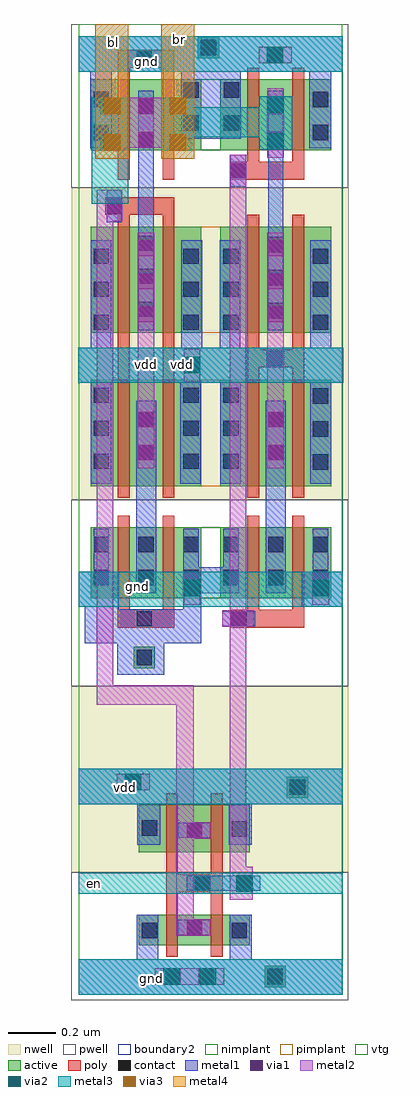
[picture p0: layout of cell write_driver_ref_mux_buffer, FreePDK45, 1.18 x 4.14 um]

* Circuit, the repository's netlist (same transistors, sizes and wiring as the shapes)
************************************************************************
* auCdl Netlist:
* 
* Library Name:  openram_sot
* Top Cell Name: write_driver_ref_mux_buffer
* View Name:     schematic
* Netlisted on:  Apr 22 02:57:17 2021
************************************************************************

*.EQUATION
*.SCALE METER
*.MEGA
.PARAM



************************************************************************
* Library Name: openram_sot
* Cell Name:    write_driver_ref_mux_buffer
* View Name:    schematic
************************************************************************

.SUBCKT write_driver_ref_mux_buffer bl br en gnd vdd
MM3 en_bar en vdd vdd PMOS_VTG W=200n L=50n m=2
MM6 br vdd vdd vdd PMOS_VTG W=900n L=50n m=2
MM7 bl en_bar vdd vdd PMOS_VTG W=900n L=50n m=2
MM2 en_bar en gnd gnd NMOS_VTG W=130.0n L=50n m=2
MM4 br en gnd gnd NMOS_VTG W=600n L=50n m=2
MM5 bl gnd gnd gnd NMOS_VTG W=600n L=50n m=2
.ENDS

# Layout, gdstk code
from math import pi, radians
import gdstk
lib = gdstk.Library(unit=1e-6, precision=5e-10)
def R(c, l, rs):  # rectangles x0, y0, x1, y1
    for r in rs: c.add(gdstk.rectangle(r[:2], r[2:], *l))
def A(c, l, x, y, w, h, nx, ny, dx, dy):  # array of equal rectangles
    R(c, l, [(x+i*dx, y+j*dy, x+i*dx+w, y+j*dy+h) for i in range(nx) for j in range(ny)])
active = (1, 0)
pwell = (2, 0)
nwell = (3, 0)
nimplant = (4, 0)
pimplant = (5, 0)
vtg = (6, 0)
poly = (9, 0)
contact = (10, 0)
metal1 = (11, 0)
via1 = (12, 0)
metal2 = (13, 0)
via2 = (14, 0)
metal3 = (15, 0)
via3 = (16, 0)
metal4 = (17, 0)
boundary2 = (239, 0)

m2_m1_cdns_631241672510 = lib.new_cell('M2_M1_CDNS_631241672510')
R(m2_m1_cdns_631241672510, metal1, [(-0.0675,-0.0325,0.0675,0.0325)])
R(m2_m1_cdns_631241672510, via1, [(-0.0325,-0.0325,0.0325,0.0325)])
R(m2_m1_cdns_631241672510, metal2, [(-0.0675,-0.035,0.0675,0.035)])

m1_poly_cdns_63124167251 = lib.new_cell('M1_POLY_CDNS_631241672511')
R(m1_poly_cdns_63124167251, poly, [(-0.0375,-0.0375,0.0375,0.0375)])
R(m1_poly_cdns_63124167251, contact, [(-0.0325,-0.0325,0.0325,0.0325)])
R(m1_poly_cdns_63124167251, metal1, [(-0.0325,-0.0675,0.0325,0.0675)])

ptap_cdns_631241672512 = lib.new_cell('PTAP_CDNS_631241672512')
R(ptap_cdns_631241672512, active, [(-0.045,-0.045,0.045,0.045)])
R(ptap_cdns_631241672512, pwell, [(-0.1,-0.1,0.1,0.1)])
R(ptap_cdns_631241672512, pimplant, [(-0.045,-0.045,0.045,0.045)])
R(ptap_cdns_631241672512, contact, [(-0.0325,-0.0325,0.0325,0.0325)])
R(ptap_cdns_631241672512, metal1, [(-0.0325,-0.0675,0.0325,0.0675)])

m2_m1_cdns_631241672513 = lib.new_cell('M2_M1_CDNS_631241672513')
R(m2_m1_cdns_631241672513, metal1, [(-0.1375,-0.0325,0.1375,0.0325)])
R(m2_m1_cdns_631241672513, via1, [(-0.1025,-0.0325,-0.0375,0.0325), (0.0375,-0.0325,0.1025,0.0325)])
R(m2_m1_cdns_631241672513, metal2, [(-0.1375,-0.035,0.1375,0.035)])

ntap_cdns_631241672514 = lib.new_cell('NTAP_CDNS_631241672514')
R(ntap_cdns_631241672514, active, [(-0.045,-0.045,0.045,0.045)])
R(ntap_cdns_631241672514, nwell, [(-0.1,-0.1,0.1,0.1)])
R(ntap_cdns_631241672514, nimplant, [(-0.045,-0.045,0.045,0.045)])
R(ntap_cdns_631241672514, contact, [(-0.0325,-0.0325,0.0325,0.0325)])
R(ntap_cdns_631241672514, metal1, [(-0.0325,-0.0675,0.0325,0.0675)])

m3_m2_cdns_631241672515 = lib.new_cell('M3_M2_CDNS_631241672515')
R(m3_m2_cdns_631241672515, metal2, [(-0.035,-0.07,0.035,0.07)])
R(m3_m2_cdns_631241672515, via2, [(-0.035,-0.035,0.035,0.035)])
R(m3_m2_cdns_631241672515, metal3, [(-0.035,-0.07,0.035,0.07)])

m2_m1_cdns_631241672516 = lib.new_cell('M2_M1_CDNS_631241672516')
R(m2_m1_cdns_631241672516, metal1, [(-0.0325,-0.0675,0.0325,0.0675)])
R(m2_m1_cdns_631241672516, via1, [(-0.0325,-0.0325,0.0325,0.0325)])
R(m2_m1_cdns_631241672516, metal2, [(-0.0675,-0.035,0.0675,0.035)])

m1_p_cdns_631241672517 = lib.new_cell('M1_P_CDNS_631241672517')
R(m1_p_cdns_631241672517, active, [(-0.045,-0.1775,0.045,0.1775)])
R(m1_p_cdns_631241672517, pimplant, [(-0.045,-0.1775,0.045,0.1775)])
A(m1_p_cdns_631241672517, contact, -0.0325, -0.1725, 0.065, 0.065, 1, 3, 0, 0.14)
R(m1_p_cdns_631241672517, metal1, [(-0.0325,-0.2075,0.0325,0.2075)])

m3_m2_cdns_631241672518 = lib.new_cell('M3_M2_CDNS_631241672518')
R(m3_m2_cdns_631241672518, metal2, [(-0.035,-0.1475,0.035,0.1475)])
R(m3_m2_cdns_631241672518, via2, [(-0.035,-0.1125,0.035,-0.0425), (-0.035,0.0425,0.035,0.1125)])
R(m3_m2_cdns_631241672518, metal3, [(-0.035,-0.1475,0.035,0.1475)])

m1_n_cdns_631241672519 = lib.new_cell('M1_N_CDNS_631241672519')
R(m1_n_cdns_631241672519, active, [(-0.045,-0.115,0.045,0.115)])
R(m1_n_cdns_631241672519, nimplant, [(-0.045,-0.115,0.045,0.115)])
R(m1_n_cdns_631241672519, contact, [(-0.0325,-0.1025,0.0325,-0.0375), (-0.0325,0.0375,0.0325,0.1025)])
R(m1_n_cdns_631241672519, metal1, [(-0.0325,-0.1375,0.0325,0.1375)])

m2_m1_cdns_6312416725110 = lib.new_cell('M2_M1_CDNS_6312416725110')
R(m2_m1_cdns_6312416725110, metal1, [(-0.0325,-0.0675,0.0325,0.0675)])
R(m2_m1_cdns_6312416725110, via1, [(-0.0325,-0.0325,0.0325,0.0325)])
R(m2_m1_cdns_6312416725110, metal2, [(-0.035,-0.0675,0.035,0.0675)])

m3_m2_cdns_6312416725111 = lib.new_cell('M3_M2_CDNS_6312416725111')
R(m3_m2_cdns_6312416725111, metal2, [(-0.035,-0.07,0.035,0.07)])
R(m3_m2_cdns_6312416725111, via2, [(-0.035,-0.035,0.035,0.035)])
R(m3_m2_cdns_6312416725111, metal3, [(-0.07,-0.035,0.07,0.035)])

m4_m3_cdns_6312416725112 = lib.new_cell('M4_M3_CDNS_6312416725112')
R(m4_m3_cdns_6312416725112, metal3, [(-0.07,-0.1125,0.07,0.1125)])
R(m4_m3_cdns_6312416725112, via3, [(-0.035,-0.1125,0.035,-0.0425), (-0.035,0.0425,0.035,0.1125)])
R(m4_m3_cdns_6312416725112, metal4, [(-0.07,-0.1475,0.07,0.1475)])

m3_m2_cdns_6312416725113 = lib.new_cell('M3_M2_CDNS_6312416725113')
R(m3_m2_cdns_6312416725113, metal2, [(-0.07,-0.1125,0.07,0.1125)])
R(m3_m2_cdns_6312416725113, via2, [(-0.035,-0.1125,0.035,-0.0425), (-0.035,0.0425,0.035,0.1125)])
R(m3_m2_cdns_6312416725113, metal3, [(-0.07,-0.1125,0.07,0.1125)])

m2_m1_cdns_6312416725114 = lib.new_cell('M2_M1_CDNS_6312416725114')
R(m2_m1_cdns_6312416725114, metal1, [(-0.0325,-0.1375,0.0325,0.1375)])
R(m2_m1_cdns_6312416725114, via1, [(-0.0325,-0.1025,0.0325,-0.0375), (-0.0325,0.0375,0.0325,0.1025)])
R(m2_m1_cdns_6312416725114, metal2, [(-0.0675,-0.105,0.0675,0.105)])

m3_m2_cdns_6312416725115 = lib.new_cell('M3_M2_CDNS_6312416725115')
R(m3_m2_cdns_6312416725115, metal2, [(-0.035,-0.1475,0.035,0.1475)])
R(m3_m2_cdns_6312416725115, via2, [(-0.035,-0.1125,0.035,-0.0425), (-0.035,0.0425,0.035,0.1125)])
R(m3_m2_cdns_6312416725115, metal3, [(-0.07,-0.1125,0.07,0.1125)])

m2_m1_cdns_6312416725116 = lib.new_cell('M2_M1_CDNS_6312416725116')
R(m2_m1_cdns_6312416725116, metal1, [(-0.0325,-0.1375,0.0325,0.1375)])
R(m2_m1_cdns_6312416725116, via1, [(-0.0325,-0.1025,0.0325,-0.0375), (-0.0325,0.0375,0.0325,0.1025)])
R(m2_m1_cdns_6312416725116, metal2, [(-0.035,-0.1375,0.035,0.1375)])

m2_m1_cdns_6312416725117 = lib.new_cell('M2_M1_CDNS_6312416725117')
R(m2_m1_cdns_6312416725117, metal1, [(-0.0325,-0.2075,0.0325,0.2075)])
A(m2_m1_cdns_6312416725117, via1, -0.0325, -0.1725, 0.065, 0.065, 1, 3, 0, 0.14)
R(m2_m1_cdns_6312416725117, metal2, [(-0.035,-0.2075,0.035,0.2075)])

m1_p_cdns_6312416725118 = lib.new_cell('M1_P_CDNS_6312416725118')
R(m1_p_cdns_6312416725118, active, [(-0.045,-0.1075,0.045,0.1075)])
R(m1_p_cdns_6312416725118, pimplant, [(-0.045,-0.1075,0.045,0.1075)])
R(m1_p_cdns_6312416725118, contact, [(-0.0325,-0.1025,0.0325,-0.0375), (-0.0325,0.0375,0.0325,0.1025)])
R(m1_p_cdns_6312416725118, metal1, [(-0.0325,-0.1375,0.0325,0.1375)])

write_driver_ref_mux_buf = lib.new_cell('write_driver_ref_mux_buffer')
R(write_driver_ref_mux_buf, active, [(0.255,0.21,0.725,0.34), (0.255,0.605,0.725,0.805), (0.05,1.6825,0.52,1.9825), (0.6,1.6825,1.07,1.9825), (0.05,2.1575,0.52,2.6075), (0.6,2.1575,1.07,2.6075), (0.05,2.8075,0.52,3.2575), (0.6,2.8075,1.07,3.2575), (0.05,3.5825,0.52,3.8825), (0.6,3.5825,1.07,3.8825)])
R(write_driver_ref_mux_buf, pwell, [(-0.0325,-0.0225,1.1425,0.52), (-0.0325,1.3075,1.1425,2.1), (-0.0325,3.4225,1.1425,4.1175), (1.0875,3.4225,1.1425,4.1175)])
R(write_driver_ref_mux_buf, nwell, [(-0.0325,0.52,1.1425,1.3075), (-0.03,2.1,1.145,3.4225), (1.09,2.1,1.145,3.4225)])
R(write_driver_ref_mux_buf, nimplant, [(0.255,0.21,0.725,0.34), (0.05,1.6825,1.07,1.9825), (0.05,3.5825,1.07,3.8825)])
R(write_driver_ref_mux_buf, pimplant, [(0.255,0.605,0.725,0.805), (0.05,2.1575,1.07,2.6075), (0.05,2.8075,1.07,3.2575)])
R(write_driver_ref_mux_buf, vtg, [(0,0,1.1175,4.1175)])
R(write_driver_ref_mux_buf, poly, [(0.37,0.16,0.42,0.855), (0.56,0.16,0.61,0.855), (0.3925,0.435,0.5475,0.51), (0.165,1.5575,0.405,1.6325), (0.165,1.5575,0.215,2.0325), (0.355,1.5575,0.405,2.0325), (0.715,1.5575,0.955,1.6325), (0.715,1.5575,0.765,2.0325), (0.905,1.5575,0.955,2.0325), (0.165,2.1075,0.215,2.78), (0.355,2.1075,0.405,2.7975), (0.715,2.1075,0.765,2.7375), (0.905,2.1075,0.955,2.7375), (0.715,2.6625,0.955,2.7375), (0.715,2.6675,0.765,3.3075), (0.905,2.6675,0.955,3.3075), (0.165,2.7575,0.215,3.3825), (0.355,2.7575,0.405,3.3825), (0.165,3.3075,0.405,3.3825), (0.165,3.4575,0.215,3.9325), (0.355,3.4575,0.405,3.9325), (0.715,3.4575,0.955,3.5325), (0.715,3.4575,0.765,3.9325), (0.905,3.4575,0.955,3.9325), (0.165,3.9325,0.405,4.0075)])
R(write_driver_ref_mux_buf, contact, [(0.2675,0.24,0.3325,0.305), (0.6475,0.24,0.7125,0.305), (0.4575,0.2525,0.5225,0.3175), (0.4575,0.665,0.5225,0.73), (0.6475,0.67,0.7125,0.735), (0.2675,0.675,0.3325,0.74), (0.245,1.5625,0.31,1.6275), (0.7975,2.6675,0.8625,2.7325), (0.245,3.9375,0.31,4.0025)])
R(write_driver_ref_mux_buf, metal1, [(0,0,1.12,0.15), (0.245,0.13,0.3375,0.34), (0.64,0.13,0.7325,0.34), (0.4225,0.2525,0.5575,0.3175), (0.57,0.44,0.6575,0.505), (0.2475,0.635,0.345,0.85), (0.635,0.635,0.7325,0.85), (0.4225,0.665,0.5575,0.73), (0,0.8075,1.12,0.9575), (0.1625,1.3575,0.3625,1.635), (0.025,1.49,0.17,1.795), (0.34,1.49,0.52,1.635), (0.4425,1.545,0.52,1.8125), (0,1.645,0.055,1.795), (0.945,1.645,1.12,1.795), (0.2425,1.7025,0.3275,2.52), (0.4425,1.7025,0.6775,1.8125), (0.7925,1.7025,0.8775,2.52), (0.05,2.1675,0.1375,2.6075), (0.43,2.1675,0.5175,2.6075), (0.6,2.1675,0.6875,2.6075), (0.9825,2.1675,1.07,2.6075), (-0.0025,2.595,1.1225,2.745), (0.05,2.69,0.1375,3.2), (0.435,2.69,0.5225,3.2), (0.5975,2.69,0.685,3.2), (0.9825,2.69,1.07,3.2), (0.2525,3.1625,0.3175,3.7275), (0.8025,3.205,0.8675,3.7475), (0.0475,3.59,0.14,4.0075), (0.9775,3.59,1.07,4.0075), (0.435,3.63,0.6875,4.065), (0,3.915,1.12,4.065)])
R(write_driver_ref_mux_buf, metal2, [(0.4125,0.25,0.4875,1.285), (0.64,0.4025,0.71,3.5575), (0.075,1.23,0.145,3.415), (0.075,1.23,0.4875,1.3125), (0.25,2.2325,0.32,3.225), (0.8,2.2325,0.87,3.225), (0.1225,3.5925,0.3525,3.805)])
R(write_driver_ref_mux_buf, metal3, [(0,0,1.12,0.15), (0,0.4275,1.12,0.5175), (0,0.8075,1.12,0.9575), (0,1.645,1.12,1.795), (-0.0025,2.595,1.1225,2.745), (0.055,3.355,0.21,3.6275), (0.49,3.6375,0.7675,3.765), (0,3.915,1.12,4.065)])
R(write_driver_ref_mux_buf, metal4, [(0.07,3.685,0.21,4.1175), (0.35,3.685,0.49,4.1175)])
R(write_driver_ref_mux_buf, boundary2, [(0,0,1.12,4.065)])
write_driver_ref_mux_buf.add(gdstk.Reference(m2_m1_cdns_631241672510, (0.2275,0.9025), rotation=pi))
write_driver_ref_mux_buf.add(gdstk.Reference(m1_poly_cdns_63124167251, (0.68,1.595), rotation=pi/2))
write_driver_ref_mux_buf.add(gdstk.Reference(m1_poly_cdns_63124167251, (0.525,0.4725), rotation=pi/2))
write_driver_ref_mux_buf.add(gdstk.Reference(m1_poly_cdns_63124167251, (0.15,3.345)))
write_driver_ref_mux_buf.add(gdstk.Reference(m1_poly_cdns_63124167251, (0.6775,3.495), rotation=pi, x_reflection=True))
write_driver_ref_mux_buf.add(gdstk.Reference(ptap_cdns_631241672512, (0.8325,0.0775)))
write_driver_ref_mux_buf.add(gdstk.Reference(ptap_cdns_631241672512, (0.2775,1.43), rotation=pi))
write_driver_ref_mux_buf.add(gdstk.Reference(ptap_cdns_631241672512, (0.55,4.0175), rotation=pi/2))
write_driver_ref_mux_buf.add(gdstk.Reference(m2_m1_cdns_631241672513, (0.47,0.0775), rotation=pi))
write_driver_ref_mux_buf.add(gdstk.Reference(ntap_cdns_631241672514, (0.9275,0.88), rotation=pi/2))
write_driver_ref_mux_buf.add(gdstk.Reference(m3_m2_cdns_631241672515, (0.48,1.725)))
write_driver_ref_mux_buf.add(gdstk.Reference(m3_m2_cdns_631241672515, (0.48,2.67)))
write_driver_ref_mux_buf.add(gdstk.Reference(m3_m2_cdns_631241672515, (0.8325,3.985), rotation=pi/2))
write_driver_ref_mux_buf.add(gdstk.Reference(m3_m2_cdns_631241672515, (0.23,0.9025), rotation=pi/2))
write_driver_ref_mux_buf.add(gdstk.Reference(m3_m2_cdns_631241672515, (1.0275,1.725)))
write_driver_ref_mux_buf.add(gdstk.Reference(m2_m1_cdns_631241672516, (0.7025,0.4725), rotation=pi/2))
write_driver_ref_mux_buf.add(gdstk.Reference(m1_p_cdns_631241672517, (1.025,2.4), rotation=pi, x_reflection=True))
write_driver_ref_mux_buf.add(gdstk.Reference(m1_p_cdns_631241672517, (0.645,2.4025)))
write_driver_ref_mux_buf.add(gdstk.Reference(m1_p_cdns_631241672517, (0.095,2.4025)))
write_driver_ref_mux_buf.add(gdstk.Reference(m1_p_cdns_631241672517, (0.645,2.9925), rotation=pi, x_reflection=True))
write_driver_ref_mux_buf.add(gdstk.Reference(m1_p_cdns_631241672517, (0.095,2.9925)))
write_driver_ref_mux_buf.add(gdstk.Reference(m1_p_cdns_631241672517, (0.285,3.0475)))
write_driver_ref_mux_buf.add(gdstk.Reference(m1_p_cdns_631241672517, (0.475,2.9925)))
write_driver_ref_mux_buf.add(gdstk.Reference(m1_p_cdns_631241672517, (0.835,3.0425), rotation=pi, x_reflection=True))
write_driver_ref_mux_buf.add(gdstk.Reference(m1_p_cdns_631241672517, (1.025,2.9925), rotation=pi, x_reflection=True))
write_driver_ref_mux_buf.add(gdstk.Reference(m1_p_cdns_631241672517, (0.475,2.4025)))
write_driver_ref_mux_buf.add(gdstk.Reference(m3_m2_cdns_631241672518, (0.47,0.0775), rotation=pi/2))
write_driver_ref_mux_buf.add(gdstk.Reference(m1_n_cdns_631241672519, (0.6475,3.7675), rotation=pi, x_reflection=True))
write_driver_ref_mux_buf.add(gdstk.Reference(m1_n_cdns_631241672519, (0.475,3.7675), rotation=pi, x_reflection=True))
write_driver_ref_mux_buf.add(gdstk.Reference(m1_n_cdns_631241672519, (0.285,1.84)))
write_driver_ref_mux_buf.add(gdstk.Reference(m1_n_cdns_631241672519, (0.835,1.84)))
write_driver_ref_mux_buf.add(gdstk.Reference(m1_n_cdns_631241672519, (1.025,3.7275), rotation=pi, x_reflection=True))
write_driver_ref_mux_buf.add(gdstk.Reference(m1_n_cdns_631241672519, (1.025,1.84)))
write_driver_ref_mux_buf.add(gdstk.Reference(m1_n_cdns_631241672519, (0.645,1.84)))
write_driver_ref_mux_buf.add(gdstk.Reference(m1_n_cdns_631241672519, (0.285,3.6975)))
write_driver_ref_mux_buf.add(gdstk.Reference(m1_n_cdns_631241672519, (0.095,1.84)))
write_driver_ref_mux_buf.add(gdstk.Reference(m1_n_cdns_631241672519, (0.095,3.7275)))
write_driver_ref_mux_buf.add(gdstk.Reference(m1_n_cdns_631241672519, (0.475,1.84)))
write_driver_ref_mux_buf.add(gdstk.Reference(m1_n_cdns_631241672519, (0.835,3.6975), rotation=pi, x_reflection=True))
write_driver_ref_mux_buf.add(gdstk.Reference(m2_m1_cdns_6312416725110, (0.49,0.6975), rotation=pi/2))
write_driver_ref_mux_buf.add(gdstk.Reference(m2_m1_cdns_6312416725110, (0.48,2.67)))
write_driver_ref_mux_buf.add(gdstk.Reference(m2_m1_cdns_6312416725110, (1.025,1.7225)))
write_driver_ref_mux_buf.add(gdstk.Reference(m2_m1_cdns_6312416725110, (0.675,3.495), rotation=pi, x_reflection=True))
write_driver_ref_mux_buf.add(gdstk.Reference(m2_m1_cdns_6312416725110, (0.49,0.285), rotation=pi/2))
write_driver_ref_mux_buf.add(gdstk.Reference(m2_m1_cdns_6312416725110, (0.8325,3.985), rotation=pi/2))
write_driver_ref_mux_buf.add(gdstk.Reference(m2_m1_cdns_6312416725110, (0.15,3.3475)))
write_driver_ref_mux_buf.add(gdstk.Reference(m2_m1_cdns_6312416725110, (0.675,1.595), rotation=pi/2, x_reflection=True))
write_driver_ref_mux_buf.add(gdstk.Reference(m2_m1_cdns_6312416725110, (0.48,1.7225)))
write_driver_ref_mux_buf.add(gdstk.Reference(m3_m2_cdns_6312416725111, (0.7025,0.4725)))
write_driver_ref_mux_buf.add(gdstk.Reference(m4_m3_cdns_6312416725112, (0.14,3.6925)))
write_driver_ref_mux_buf.add(gdstk.Reference(m4_m3_cdns_6312416725112, (0.42,3.6925)))
write_driver_ref_mux_buf.add(gdstk.Reference(m3_m2_cdns_6312416725113, (0.125,3.6925)))
write_driver_ref_mux_buf.add(gdstk.Reference(m2_m1_cdns_6312416725114, (0.285,3.6975)))
write_driver_ref_mux_buf.add(gdstk.Reference(m3_m2_cdns_6312416725115, (0.835,3.6975)))
write_driver_ref_mux_buf.add(gdstk.Reference(m2_m1_cdns_6312416725116, (0.835,2.37)))
write_driver_ref_mux_buf.add(gdstk.Reference(m2_m1_cdns_6312416725116, (0.285,2.37)))
write_driver_ref_mux_buf.add(gdstk.Reference(m2_m1_cdns_6312416725116, (0.835,3.6975)))
write_driver_ref_mux_buf.add(gdstk.Reference(m2_m1_cdns_6312416725117, (0.835,3.025)))
write_driver_ref_mux_buf.add(gdstk.Reference(m2_m1_cdns_6312416725117, (0.285,3.025)))
write_driver_ref_mux_buf.add(gdstk.Reference(m1_p_cdns_6312416725118, (0.285,2.37)))
write_driver_ref_mux_buf.add(gdstk.Reference(m1_p_cdns_6312416725118, (0.835,2.37)))
write_driver_ref_mux_buf.add(gdstk.Label('gnd', (0.2875,3.96), layer=15, texttype=0))
write_driver_ref_mux_buf.add(gdstk.Label('vdd', (0.44,2.6725), layer=15, texttype=0))
write_driver_ref_mux_buf.add(gdstk.Label('gnd', (0.31,0.0675), layer=15, texttype=0))
write_driver_ref_mux_buf.add(gdstk.Label('en', (0.065,0.4725), layer=15, texttype=0))
write_driver_ref_mux_buf.add(gdstk.Label('gnd', (0.25,1.7325), layer=15, texttype=0))
write_driver_ref_mux_buf.add(gdstk.Label('vdd', (0.1975,0.8775), layer=15, texttype=0))
write_driver_ref_mux_buf.add(gdstk.Label('gnd', (0.295,3.9975), layer=11, texttype=0))
write_driver_ref_mux_buf.add(gdstk.Label('vdd', (0.2875,2.6725), layer=11, texttype=0))
write_driver_ref_mux_buf.add(gdstk.Label('gnd', (0.2375,0.0675), layer=11, texttype=0))
write_driver_ref_mux_buf.add(gdstk.Label('vdd', (0.21,0.8975), layer=11, texttype=0))
write_driver_ref_mux_buf.add(gdstk.Label('br', (0.425,4.05), layer=17, texttype=0))
write_driver_ref_mux_buf.add(gdstk.Label('bl', (0.145,4.0375), layer=17, texttype=0))

lib.write_gds('write_driver_ref_mux_buffer.gds')
